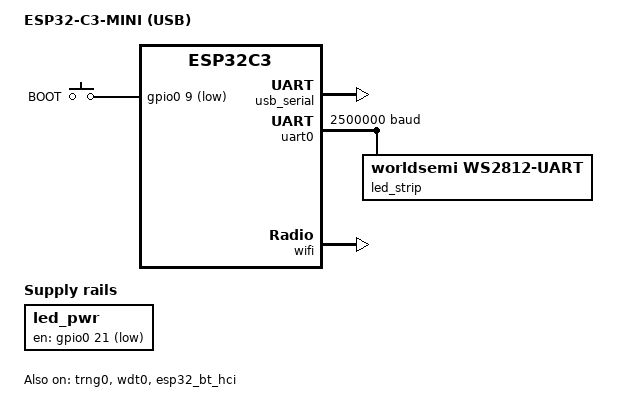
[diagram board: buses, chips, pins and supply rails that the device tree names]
/*
 * Copyright (c) 2025 Arrel Neumiller
 * SPDX-License-Identifier: Apache-2.0
 *
 * ESP32-C3-MINI (USB) — no CH340, uses built-in USB Serial/JTAG for console.
 * UART0 TX=GPIO20 drives WS2812B LED strip via worldsemi,ws2812-uart.
 */

/dts-v1/;

#include <espressif/esp32c3/esp32c3_fx4.dtsi>
#include "esp32c3_mini-pinctrl.dtsi"
#include <zephyr/dt-bindings/input/input-event-codes.h>
#include <zephyr/dt-bindings/led/led.h>
#include <espressif/partitions_0x0_default.dtsi>

/ {
	model = "ESP32-C3-MINI (USB)";
	compatible = "zy17w,esp32c3_mini_usb";

	chosen {
		zephyr,sram = &sram1;
		zephyr,console = &usb_serial;
		zephyr,shell-uart = &usb_serial;
		zephyr,flash = &flash0;
		zephyr,code-partition = &slot0_partition;
	};

	aliases {
		led-strip = &led_strip;
		sw0 = &user_button1;
		watchdog0 = &wdt0;
	};

	gpio_keys {
		compatible = "gpio-keys";

		user_button1: button_1 {
			label = "BOOT";
			gpios = <&gpio0 9 (GPIO_PULL_UP | GPIO_ACTIVE_LOW)>;
			zephyr,code = <INPUT_KEY_0>;
		};
	};

	led_pwr: led-pwr-ctrl {
		compatible = "regulator-fixed";
		regulator-name = "led-pwr-ctrl";
		enable-gpios = <&gpio0 21 GPIO_ACTIVE_LOW>;
		regulator-boot-off;
	};
};

&spi2 {
	status = "disabled";
};

&usb_serial {
	status = "okay";
};

&i2c0 {
	status = "disabled";
};

&trng0 {
	status = "okay";
};

&gpio0 {
	status = "okay";
};

&wdt0 {
	status = "okay";
};

&uart0 {
	status = "okay";
	current-speed = <2500000>;
	data-bits = <7>;
	stop-bits = "1";
	parity = "none";
	tx-invert;
	pinctrl-0 = <&uart0_ws2812>;
	pinctrl-names = "default";
	dmas = <&dma 0>, <&dma 1>;
	dma-names = "rx", "tx";

	led_strip: ws2812-strip {
		compatible = "worldsemi,ws2812-uart";
		one-symbol = <0x6>;
		zero-symbol = <0x4>;
		bits-per-symbol = <3>;
		chain-length = <17>;
		color-mapping = <LED_COLOR_ID_GREEN
				 LED_COLOR_ID_RED
				 LED_COLOR_ID_BLUE>;
		reset-delay = <80>;
	};
};

&dma {
	status = "okay";
};

&esp32_bt_hci {
	status = "okay";
};

&wifi {
	status = "okay";
};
